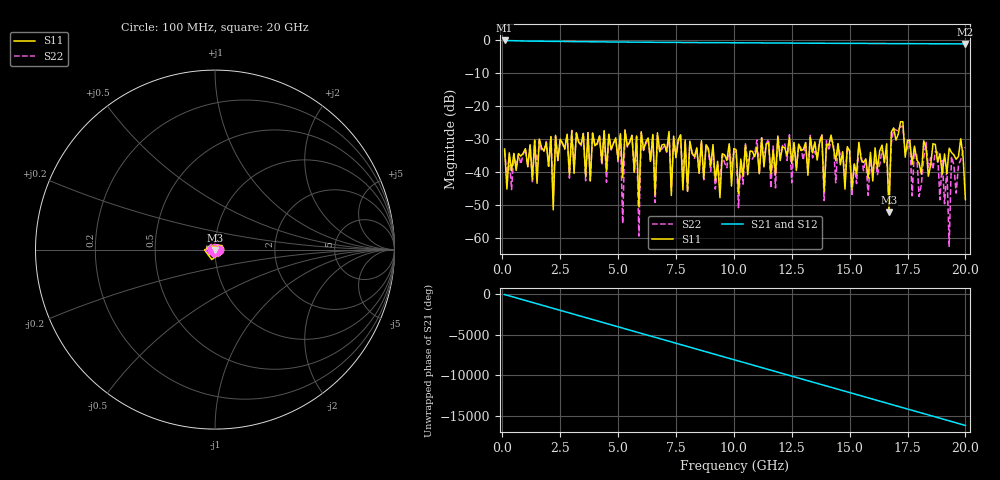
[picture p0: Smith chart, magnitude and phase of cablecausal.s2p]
! File created by SignalIntegrity v1.1.6: Signal and Power Integrity Tools
! https://github.com/TeledyneLeCroy/SignalIntegrity
# MHz MA S R 50.0
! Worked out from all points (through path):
!   200 points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, 100 MHz to 20 GHz, reference 50 ohm
!   highest |S21| = -0.04 dB at 100 MHz (marker M1); lowest = -1.1 dB at 20 GHz (marker M2)
!   lowest |S11| = -52.1 dB at 16.7 GHz (marker M3), VSWR 1.00, Z = 50 - j0.243 ohm
!   |S11| at or under -10 dB: start of sweep to end of sweep
!   |S22| runs from -62.4 to -26.0 dB; largest |S21 - S12| = 0.0012
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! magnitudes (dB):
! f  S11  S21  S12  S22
! 100 MHz  -33.0  0.0  0.0  -33.6
! 2.1 GHz  -29.2  -0.3  -0.3  -29.3
! 2.2 GHz  -51.4  -0.3  -0.3  -47.9
! 2.3 GHz  -28.8  -0.3  -0.3  -29.2
! 3.5 GHz  -28.3  -0.4  -0.4  -28.2
! 5.1 GHz  -28.3  -0.5  -0.5  -28.6
! 5.2 GHz  -41.7  -0.5  -0.5  -55.6
! 5.3 GHz  -27.2  -0.5  -0.5  -27.2
! 5.8 GHz  -29.0  -0.6  -0.6  -29.3
! 5.9 GHz  -50.5  -0.6  -0.6  -59.4
! 6 GHz  -27.7  -0.6  -0.6  -28.0
! 6.8 GHz  -33.8  -0.6  -0.6  -33.7
! 10.1 GHz  -33.2  -0.7  -0.7  -33.8
! 13.4 GHz  -34.2  -0.9  -0.9  -35.6
! 16.6 GHz  -31.4  -1.0  -1.0  -35.2
! 16.7 GHz  -52.1  -1.0  -1.0  -49.1
! 16.8 GHz  -27.9  -1.0  -1.0  -31.3
! 17.2 GHz  -24.7  -1.0  -1.0  -26.0
! 19.2 GHz  -40.4  -1.1  -1.1  -38.6
! 19.3 GHz  -32.7  -1.1  -1.1  -62.4
! 19.4 GHz  -34.0  -1.1  -1.1  -35.3
! 20 GHz  -48.3  -1.1  -1.1  -32.5
